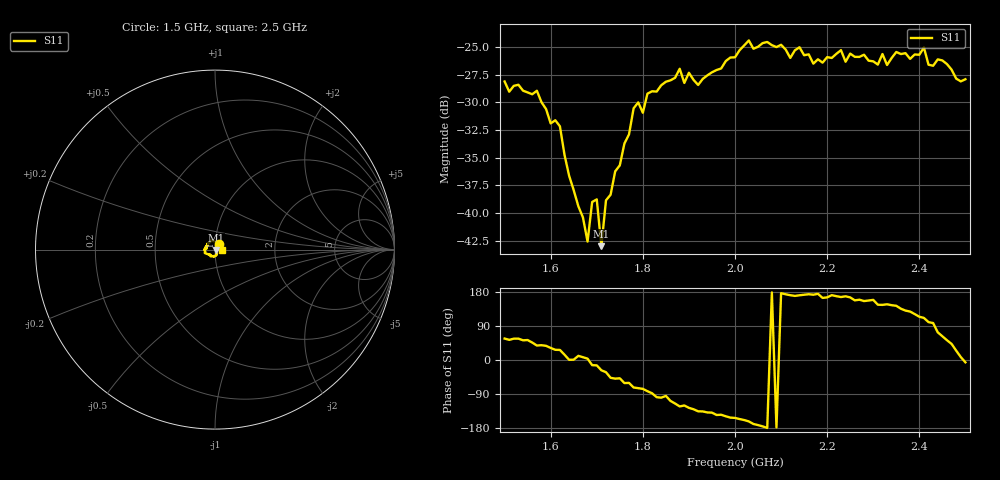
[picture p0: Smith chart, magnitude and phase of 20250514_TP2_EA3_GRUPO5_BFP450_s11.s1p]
# HZ S RI R 50
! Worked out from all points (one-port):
!   101 points, 1.5 GHz to 2.5 GHz, reference 50 ohm
!   lowest |S11| = -43.0 dB at 1.71 GHz (marker M1), VSWR 1.01, Z = 50.6 - j0.327 ohm
!   |S11| at or under -10 dB: start of sweep to end of sweep
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1.5e9  0.0216 0.0328
1.57e9  0.028 0.0221
1.6e9  0.0216 0.0134
1.62e9  0.0221 0.011
1.63e9  0.0178 0.00442
1.68e9  0.00743 0.000469
1.69e9  0.0109 -0.00265
1.7e9  0.0112 -0.00282
1.71e9  0.00631 -0.00323
1.72e9  0.00966 -0.00609
1.75e9  0.0109 -0.0123
1.78e9  0.00888 -0.0284
1.8e9  0.00678 -0.0276
1.81e9  0.00463 -0.0343
1.88e9  -0.0241 -0.0378
1.89e9  -0.0193 -0.0335
1.9e9  -0.0254 -0.0347
1.92e9  -0.027 -0.0266
2e9  -0.0449 -0.023
2.03e9  -0.0572 -0.0185
2.13e9  -0.0533 0.0102
2.17e9  -0.0468 0.00638
2.25e9  -0.0507 0.0134
2.38e9  -0.0305 0.0392
2.41e9  -0.02 0.0522
2.42e9  -0.00807 0.046
2.45e9  0.0225 0.0434
2.5e9  0.04 -0.00432
